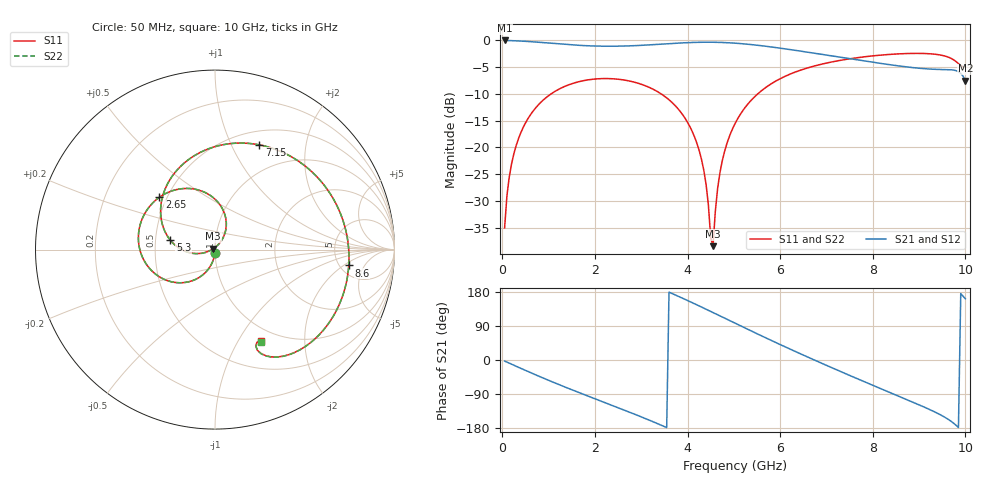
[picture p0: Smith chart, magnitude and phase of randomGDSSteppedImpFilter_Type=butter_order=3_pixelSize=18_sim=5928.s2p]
! freq	dB(S11)	phase(S11)	dB(S12)	phase(S12)
!  dB(S21)	phase(S21)	dB(S22)	phase(S22)
!S-par simulation data
#  GHz  S  DB  R 50
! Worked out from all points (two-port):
!   200 points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, 50 MHz to 10 GHz, reference 50 ohm
!   highest |S21| = 0.00 dB at 50 MHz (marker M1); lowest = -7.5 dB at 10 GHz (marker M2)
!   |S21| within 3 dB of the highest: start of sweep to 7.199 GHz
!   lowest |S11| = -38.4 dB at 4.55 GHz (marker M3), VSWR 1.02, Z = 48.9 + j0.495 ohm
!   |S11| at or under -10 dB: start of sweep to 1.052 GHz; 3.432 GHz to 5.514 GHz (2.082 GHz wide, 46.5 % of centre)
!   |S22| runs from -39.1 to -2.4 dB; largest |S21 - S12| = 0
!   S11 on the Smith chart (normalised r, x): 50 MHz: 1.00, -0.04; 2.65 GHz: 0.46, +0.32; 5.3 GHz: 0.60, +0.07; 7.15 GHz: 0.66, +1.29; 8.6 GHz: 6.01, -2.43; 10 GHz: 0.83, -1.25
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0.05  -35.03 -92.7  -0.00 -2.8  -0.00 -2.8  -35.03 -92.7
0.2  -23.07 -101.4  -0.04 -11.1  -0.04 -11.1  -23.07 -101.4
0.5  -15.43 -118.0  -0.17 -27.4  -0.17 -27.4  -15.43 -118.0
1.1  -9.72 -149.3  -0.56 -58.7  -0.56 -58.7  -9.72 -149.3
1.75  -7.52 179.1  -0.96 -90.4  -0.96 -90.4  -7.52 179.0
2.65  -7.43 136.7  -1.04 -132.9  -1.04 -132.9  -7.43 136.6
3.4  -9.82 99.9  -0.71 -170.4  -0.71 -170.4  -9.82 99.7
4.2  -19.16 59.4  -0.36 145.6  -0.36 145.6  -19.16 58.9
4.4  -26.88 55.1  -0.33 134.1  -0.33 134.1  -26.91 53.8
4.5  -36.83 80.3  -0.33 128.2  -0.33 128.2  -37.22 77.1
4.55  -38.44 155.0  -0.34 125.3  -0.34 125.3  -39.05 157.1
4.6  -31.96 -171.4  -0.34 122.3  -0.34 122.3  -32.10 -169.3
4.7  -24.70 -164.0  -0.37 116.4  -0.37 116.4  -24.73 -163.0
5.05  -15.14 -178.2  -0.52 95.7  -0.52 95.7  -15.15 -177.9
5.3  -11.91 168.1  -0.71 81.0  -0.71 81.0  -11.92 168.3
6  -7.15 129.1  -1.44 40.8  -1.44 40.8  -7.15 129.1
6.7  -4.87 90.9  -2.34 2.0  -2.34 2.0  -4.87 90.9
7.15  -3.96 67.0  -2.94 -22.2  -2.94 -22.2  -3.96 67.0
8.35  -2.62 5.7  -4.52 -84.7  -4.52 -84.7  -2.62 5.6
8.6  -2.49 -6.8  -4.81 -97.5  -4.81 -97.5  -2.49 -6.8
9.5  -2.79 -52.0  -5.44 -147.2  -5.44 -147.2  -2.78 -52.0
10  -4.91 -63.4  -7.53 161.5  -7.53 161.5  -4.84 -63.6
